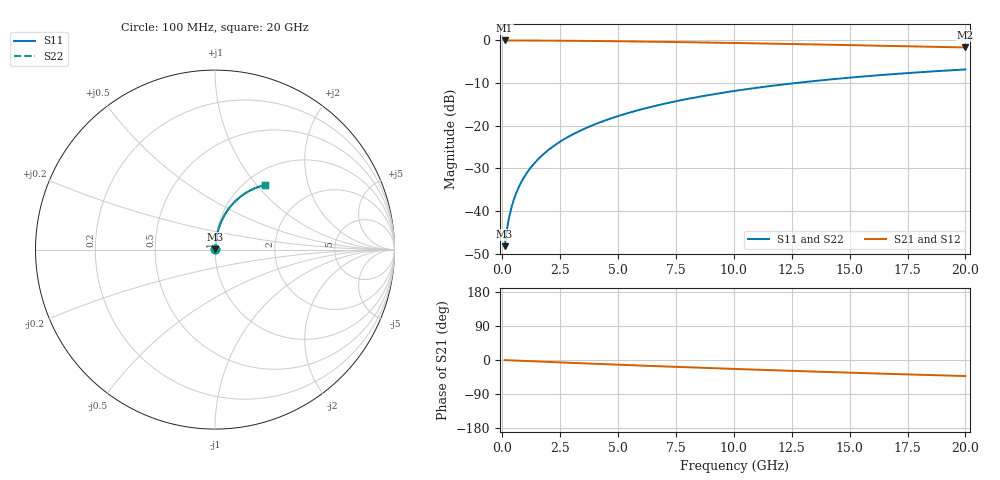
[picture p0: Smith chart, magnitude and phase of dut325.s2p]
! Touchstone file exported from HFSS 2024.1.0
!  File:  C:/UserFiles/LocalFiles/RDL_TSV_Batchsim/temp_RDL_top_325_1779607173.aedt
!  Generated:  03:22:02 PM May 24, 2026
!  Design:  RDL_top
!  Project:  temp_RDL_top_325_1779607173
!  Setup:  Setup1
!  Solution:  Sweep
! Variables:
!  dtsv = 10.80580581um
!  hbump = 3um
!  htsv = 75.79um
!  ldown = 100um
!  lrdl = 538.89um
!  p = 40
!  p1 = 58.94um
!  rhole = 1um
!  t = 450um
!  tdown = 3.915915916um
!  trdl = 4.51um
!  wdown = 15.38538539um
!  wrdl = 15.84um
# GHz S MA R 50.000000
! Terminal data exported
! Port[1] = Box2_T1
! Port[2] = Box2_T2
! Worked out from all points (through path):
!   200 points, 100 MHz to 20 GHz, reference 50 ohm
!   highest |S21| = -0.02 dB at 100 MHz (marker M1); lowest = -1.7 dB at 20 GHz (marker M2)
!   group delay of S21, straight-line fit = 5.87 ps
!   lowest |S11| = -48.2 dB at 100 MHz (marker M3), VSWR 1.01, Z = 50.3 + j0.273 ohm
!   |S11| at or under -10 dB: start of sweep to 12.66 GHz
!   |S22| runs from -48.2 to -6.8 dB; largest |S21 - S12| = 2.6e-15
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0.1  0.003883 44.3  0.9972 -0.3  0.9972 -0.3  0.003883 44.3
! Gamma 0 0 0 0
! Port Impedance 50 0 50 0
0.2  0.006115 62.1  0.9971 -0.5  0.9971 -0.5  0.006115 62.1
0.3  0.008595 69.7  0.997 -0.8  0.997 -0.8  0.008595 69.7
0.4  0.01113 73.7  0.9968 -1.0  0.9968 -1.0  0.01113 73.7
0.5  0.01368 76.1  0.9967 -1.3  0.9967 -1.3  0.01368 76.1
0.7  0.01879 79.0  0.9964 -1.8  0.9964 -1.8  0.01879 79.0
0.8  0.02134 79.9  0.9962 -2.1  0.9962 -2.1  0.02134 79.9
1  0.02646 81.1  0.9958 -2.6  0.9958 -2.6  0.02646 81.1
1.2  0.03159 81.8  0.9954 -3.1  0.9954 -3.1  0.03159 81.8
1.4  0.03673 82.2  0.9949 -3.6  0.9949 -3.6  0.03673 82.2
1.7  0.04445 82.6  0.9941 -4.3  0.9941 -4.3  0.04445 82.6
2  0.05219 82.7  0.9931 -5.1  0.9931 -5.1  0.05219 82.7
2.7  0.07028 82.4  0.9902 -6.8  0.9902 -6.8  0.07028 82.4
3.5  0.09098 81.5  0.986 -8.8  0.986 -8.8  0.09098 81.5
4.2  0.1091 80.6  0.9817 -10.5  0.9817 -10.5  0.1091 80.6
5  0.1297 79.4  0.9762 -12.4  0.9762 -12.4  0.1297 79.4
6.8  0.1758 76.3  0.9618 -16.5  0.9618 -16.5  0.1758 76.3
8.4  0.2159 73.4  0.9474 -20.1  0.9474 -20.1  0.2159 73.4
10.1  0.2572 70.1  0.931 -23.7  0.931 -23.7  0.2573 70.2
13.4  0.3323 63.9  0.8968 -30.4  0.8968 -30.4  0.3324 63.9
16.7  0.3989 57.8  0.8612 -36.6  0.8612 -36.6  0.399 57.8
20  0.4564 52.1  0.8257 -42.4  0.8257 -42.4  0.4565 52.1
